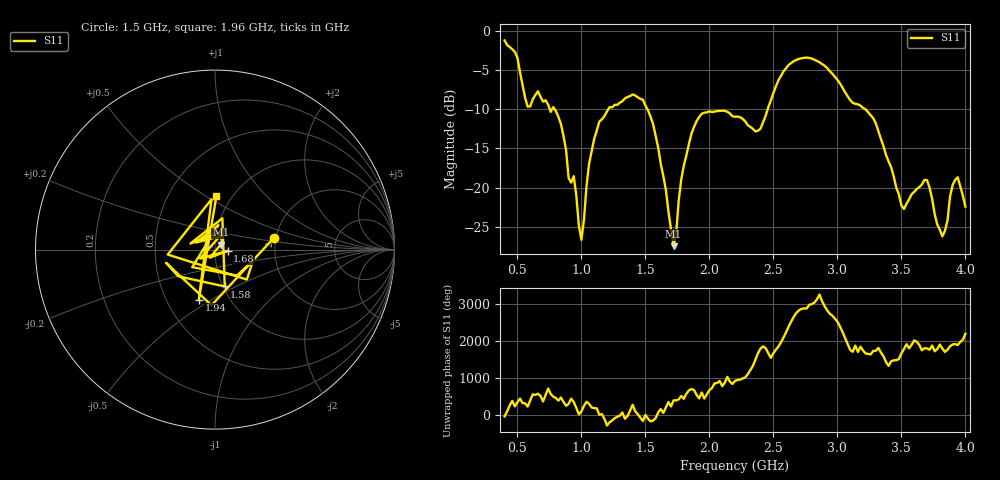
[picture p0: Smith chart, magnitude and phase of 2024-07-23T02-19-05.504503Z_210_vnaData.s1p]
!Created with skrf (http://scikit-rf.org).
# Hz S RI R 50.0
!freq ReS11 ImS11
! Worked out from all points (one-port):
!   181 points, 400 MHz to 4 GHz, reference 50 ohm
!   lowest |S11| = -27.5 dB at 1.72 GHz (marker M1), VSWR 1.09, Z = 53.2 + j2.97 ohm
!   |S11| at or under -10 dB: 789.7 MHz to 1.211 GHz (421.2 MHz wide, 42.1 % of centre); 1.515 GHz to 2.456 GHz (940.9 MHz wide, 47.4 % of centre); 3.216 GHz to end of sweep (the widest 3 of 4)
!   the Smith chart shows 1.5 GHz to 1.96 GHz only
!   S11 on the Smith chart (normalised r, x): 1.5 GHz: 1.94, +0.28; 1.58 GHz: 1.02, -0.44; 1.68 GHz: 1.15, -0.02; 1.94 GHz: 0.72, -0.44; 1.96 GHz: 0.85, +0.56
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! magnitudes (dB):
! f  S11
! 400 MHz  -1.3
! 500 MHz  -3.5
! 580 MHz  -9.7
! 660 MHz  -7.7
! 860 MHz  -13.4
! 900 MHz  -18.8
! 940 MHz  -18.5
! 1 GHz  -26.7
! 1.1 GHz  -13.8
! 1.3 GHz  -9.2
! 1.5 GHz  -9.6
! 1.58 GHz  -13.5
! 1.68 GHz  -23.1
! 1.72 GHz  -27.5
! 1.76 GHz  -21.7
! 1.94 GHz  -10.6
! 1.96 GHz  -10.5
! 2.2 GHz  -11.0
! 2.4 GHz  -12.5
! 2.66 GHz  -3.9
! 3.1 GHz  -8.9
! 3.28 GHz  -11.2
! 3.5 GHz  -22.3
! 3.56 GHz  -21.5
! 3.7 GHz  -19.1
! 3.82 GHz  -26.2
! 3.92 GHz  -19.0
! 4 GHz  -22.4
